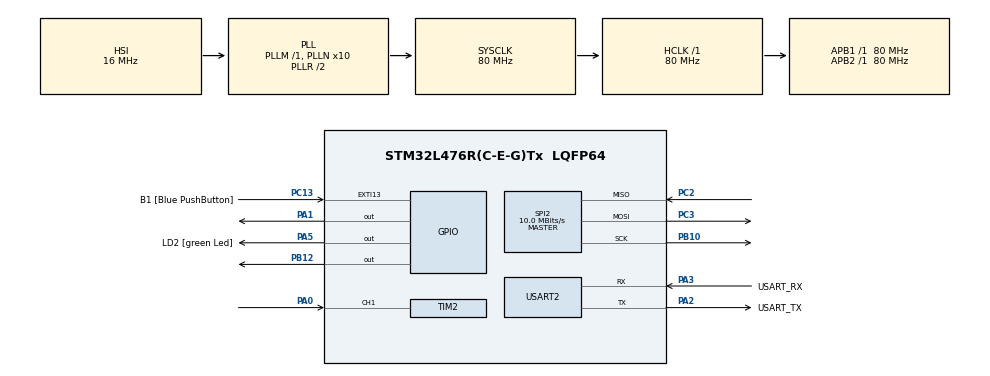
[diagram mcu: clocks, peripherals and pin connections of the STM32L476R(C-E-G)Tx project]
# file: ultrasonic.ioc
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FREERTOS.Tasks01=defaultTask,0,128,StartDefaultTask,Default,NULL,Dynamic,NULL,NULL
Mcu.Family=STM32L4
Mcu.Name=STM32L476R(C-E-G)Tx
Mcu.Package=LQFP64
NVIC.PriorityGroup=NVIC_PRIORITYGROUP_4
NVIC.TIM2_IRQn=true\:5\:0\:false\:false\:true\:true\:true\:true\:true
PA0.Signal=S_TIM2_CH1
PA1.Signal=GPIO_Output
PA13\ (JTMS-SWDIO).GPIO_Label=TMS
PA13\ (JTMS-SWDIO).Mode=Serial_Wire
PA13\ (JTMS-SWDIO).Signal=SYS_JTMS-SWDIO
PA14\ (JTCK-SWCLK).GPIO_Label=TCK
PA14\ (JTCK-SWCLK).Mode=Serial_Wire
PA14\ (JTCK-SWCLK).Signal=SYS_JTCK-SWCLK
PA2.GPIO_Label=USART_TX
PA2.GPIO_Mode=GPIO_MODE_AF_PP
PA2.GPIO_PuPd=GPIO_NOPULL
PA2.GPIO_Speed=GPIO_SPEED_FREQ_VERY_HIGH
PA2.Mode=Asynchronous
PA2.Signal=USART2_TX
PA3.GPIO_Label=USART_RX
PA3.GPIO_Mode=GPIO_MODE_AF_PP
PA3.GPIO_PuPd=GPIO_NOPULL
PA3.GPIO_Speed=GPIO_SPEED_FREQ_VERY_HIGH
PA3.Mode=Asynchronous
PA3.Signal=USART2_RX
PA5.GPIO_Label=LD2 [green Led]
PA5.GPIO_ModeDefaultOutputPP=GPIO_MODE_OUTPUT_PP
PA5.GPIO_PuPd=GPIO_NOPULL
PA5.GPIO_Speed=GPIO_SPEED_FREQ_LOW
PA5.Signal=GPIO_Output
PB10.Mode=Full_Duplex_Master
PB10.Signal=SPI2_SCK
PB12.Signal=GPIO_Output
PB3\ (JTDO-TRACESWO).GPIO_Label=SWO
PB3\ (JTDO-TRACESWO).Signal=SYS_JTDO-SWO
PC13.GPIO_Label=B1 [Blue PushButton]
PC13.GPIO_ModeDefaultEXTI=GPIO_MODE_IT_FALLING
PC13.GPIO_PuPd=GPIO_NOPULL
PC13.Signal=GPXTI13
PC14-OSC32_IN\ (PC14).Mode=LSE-External-Oscillator
PC14-OSC32_IN\ (PC14).Signal=RCC_OSC32_IN
PC15-OSC32_OUT\ (PC15).Mode=LSE-External-Oscillator
PC15-OSC32_OUT\ (PC15).Signal=RCC_OSC32_OUT
PC2.Mode=Full_Duplex_Master
PC2.Signal=SPI2_MISO
PC3.Mode=Full_Duplex_Master
PC3.Signal=SPI2_MOSI
PH0-OSC_IN\ (PH0).Signal=RCC_OSC_IN
PH1-OSC_OUT\ (PH1).Signal=RCC_OSC_OUT
ProjectManager.HeapSize=0x200
ProjectManager.StackSize=0x400
ProjectManager.TargetToolchain=STM32CubeIDE
RCC.ADCFreq_Value=64000000
RCC.AHBFreq_Value=80000000
RCC.APB1Freq_Value=80000000
RCC.APB1TimFreq_Value=80000000
RCC.APB2Freq_Value=80000000
RCC.APB2TimFreq_Value=80000000
RCC.CortexFreq_Value=80000000
RCC.HCLKFreq_Value=80000000
RCC.HSE_VALUE=8000000
RCC.HSI_VALUE=16000000
RCC.MSI_VALUE=4000000
RCC.PLLN=10
RCC.PLLSourceVirtual=RCC_PLLSOURCE_HSI
RCC.PREFETCH_ENABLE=1
RCC.SYSCLKFreq_VALUE=80000000
RCC.SYSCLKSource=RCC_SYSCLKSOURCE_PLLCLK
RCC.USBFreq_Value=64000000
RCC.VCOOutputFreq_Value=160000000
SH.S_TIM2_CH1.0=TIM2_CH1,Input_Capture1_from_TI1
SPI2.BaudRatePrescaler=SPI_BAUDRATEPRESCALER_8
SPI2.CalculateBaudRate=10.0 MBits/s
SPI2.DataSize=SPI_DATASIZE_8BIT
SPI2.Direction=SPI_DIRECTION_2LINES
SPI2.Mode=SPI_MODE_MASTER
SPI2.VirtualType=VM_MASTER
TIM2.Channel-Input_Capture1_from_TI1=TIM_CHANNEL_1
USART2.VirtualMode-Asynchronous=VM_ASYNC
VP_FREERTOS_VS_CMSIS_V1.Mode=CMSIS_V1
VP_RTC_VS_RTC_Activate.Mode=RTC_Enabled
VP_RTC_VS_RTC_Calendar.Mode=RTC_Calendar
board=NUCLEO-L476RG

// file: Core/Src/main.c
/* USER CODE BEGIN Header */
/**
  ******************************************************************************
  * @file           : main.c
  * @brief          : Main program body
  ******************************************************************************
  * @attention
  *
  * Copyright (c) 2025 STMicroelectronics.
  * All rights reserved.
  *
  * This software is licensed under terms that can be found in the LICENSE file
  * in the root directory of this software component.
  * If no LICENSE file comes with this software, it is provided AS-IS.
  *
  ******************************************************************************
  */
/* USER CODE END Header */
#include "main.h"
#include "cmsis_os.h"

/* USER CODE BEGIN Includes */
#include<string.h>
#include<stdio.h>
/* USER CODE END Includes */

/* USER CODE BEGIN PM */
//macro for chip select pin
#define W25Q_CS_LOW()   HAL_GPIO_WritePin(GPIOB, GPIO_PIN_12, GPIO_PIN_RESET)
#define W25Q_CS_HIGH()  HAL_GPIO_WritePin(GPIOB, GPIO_PIN_12, GPIO_PIN_SET)

/* USER CODE END PM */

RTC_HandleTypeDef hrtc;

SPI_HandleTypeDef hspi2;

TIM_HandleTypeDef htim2;

UART_HandleTypeDef huart2;

osThreadId defaultTaskHandle;
/* USER CODE BEGIN PV */
//handle for task
TaskHandle_t sensorHandle;
TaskHandle_t flashHandle;
TaskHandle_t alertHandle;
TaskHandle_t uartHandle;
//handle for queue
QueueHandle_t distance_q;

uint32_t ic_val1 = 0;   // First captured timer value
uint32_t ic_val2 = 0;   // Second captured timer value
uint32_t diff = 0;      // Difference between captures (pulse width)
uint8_t is_first_capture = 0; // Flag to track first/second capture
float distance_cm = 0;     // Calculated distance in centimeters

char msg[64];                   // Message buffer for UART
RTC_TimeTypeDef sTime;          // RTC time structure
RTC_DateTypeDef sDate;          // RTC date structure
char timestamp[32];             // Timestamp string buffer
/* USER CODE END PV */

void SystemClock_Config(void);
static void MX_GPIO_Init(void);
static void MX_USART2_UART_Init(void);
static void MX_SPI2_Init(void);
static void MX_TIM2_Init(void);
static void MX_RTC_Init(void);
void StartDefaultTask(void const * argument);

/* USER CODE BEGIN PFP */
// ================== Read Status Register-1 ==================
static uint8_t W25Qxx_ReadSR1(void)
{
    uint8_t cmd = 0x05; // Command: Read Status Register-1
    uint8_t sr1 = 0;

    W25Q_CS_LOW();                                   // select flash chip
    HAL_SPI_Transmit(&hspi2, &cmd, 1, 100);          // send command
    HAL_SPI_Receive(&hspi2, &sr1, 1, 100);           // read one byte (status register value)
    W25Q_CS_HIGH();                                  // release flash chip

    return sr1;                                      // return status value
}

// ================== Wait until flash is not busy ==================
static void W25Qxx_WaitBusy(void)
{
    // WIP bit (bit0) = 1 while flash is busy (erase/program in progress)
    while (W25Qxx_ReadSR1() & 0x01)
    {
        osDelay(1); // small delay so other tasks can run
    }
}

// ================== Erase one sector (4KB) ==================
void W25Qxx_EraseSector(uint32_t addr)
{
    uint8_t cmd[4];
    uint8_t we = 0x06;   // Write Enable command

    // --- Send Write Enable ---
    W25Q_CS_LOW();
    HAL_SPI_Transmit(&hspi2, &we, 1, HAL_MAX_DELAY);
    W25Q_CS_HIGH();

    // --- Sector Erase command + 24-bit address ---
    cmd[0] = 0x20;                         // Sector Erase (4KB)
    cmd[1] = (addr >> 16) & 0xFF;          // address byte 2
    cmd[2] = (addr >> 8) & 0xFF;           // address byte 1
    cmd[3] = addr & 0xFF;                  // address byte 0

    W25Q_CS_LOW();
    HAL_SPI_Transmit(&hspi2, cmd, 4, HAL_MAX_DELAY);
    W25Q_CS_HIGH();

    W25Qxx_WaitBusy();                     // wait until erase finished
    HAL_Delay(50);                         // extra wait (~50ms typical erase time)
}

// ================== Read flash JEDEC ID ==================
void W25Qxx_Init(void)
{
    uint8_t cmd = 0x9F; // Read JEDEC ID command
    uint8_t id[3];      // buffer for manufacturer/device ID
    char buf[50];

    W25Q_CS_LOW();
    HAL_SPI_Transmit(&hspi2, &cmd, 1, HAL_MAX_DELAY);  // send command
    HAL_SPI_Receive(&hspi2, id, 3, HAL_MAX_DELAY);     // read 3 ID bytes
    W25Q_CS_HIGH();

    // Print ID over UART (e.g. EF 40 17 for W25Q64)
    sprintf(buf, "W25Q ID: %02X %02X %02X\r\n", id[0], id[1], id[2]);
    HAL_UART_Transmit(&huart2, (uint8_t*) buf, strlen(buf), 1000);
}

// ================== Read data from flash ==================
void W25Qxx_Read(uint32_t addr, uint8_t *buffer, uint16_t size)
{
    uint8_t cmd[4];

    // --- Read Data command + 24-bit address ---
    cmd[0] = 0x03;                         // Read command
    cmd[1] = (addr >> 16) & 0xFF;          // address byte 2
    cmd[2] = (addr >> 8) & 0xFF;           // address byte 1
    cmd[3] = addr & 0xFF;                  // address byte 0

    W25Q_CS_LOW();
    HAL_SPI_Transmit(&hspi2, cmd, 4, HAL_MAX_DELAY);   // send command + address
    HAL_SPI_Receive(&hspi2, buffer, size, HAL_MAX_DELAY); // read 'size' bytes into buffer
    W25Q_CS_HIGH();
}

// ================== Write data to flash ==================
void W25Qxx_Write(uint32_t addr, uint8_t *buffer, uint16_t size)
{
    uint8_t cmd[4];
    uint8_t we = 0x06;   // Write Enable command

    // --- Send Write Enable ---
    W25Q_CS_LOW();
    HAL_SPI_Transmit(&hspi2, &we, 1, HAL_MAX_DELAY);
    W25Q_CS_HIGH();

    // --- Page Program command + 24-bit address ---
    cmd[0] = 0x02;                         // Page Program
    cmd[1] = (addr >> 16) & 0xFF;          // address byte 2
    cmd[2] = (addr >> 8) & 0xFF;           // address byte 1
    cmd[3] = addr & 0xFF;                  // address byte 0

    W25Q_CS_LOW();
    HAL_SPI_Transmit(&hspi2, cmd, 4, HAL_MAX_DELAY);   // send command + address
    HAL_SPI_Transmit(&hspi2, buffer, size, HAL_MAX_DELAY); // send data to program
    W25Q_CS_HIGH();                                       // release chip

    W25Qxx_WaitBusy();                     // wait until program finished
}

// ================== Write one float value ==================
void W25Qxx_WriteFloat(uint32_t addr, float value)
{
    uint8_t buffer[4];
    memcpy(buffer, &value, sizeof(float));  // copy float into 4-byte buffer
    W25Qxx_Write(addr, buffer, sizeof(float)); // write 4 bytes to flash
}

// ================== Read one float value ==================
float W25Qxx_ReadFloat(uint32_t addr)
{
    uint8_t buffer[4];
    float value;
    W25Qxx_Read(addr, buffer, sizeof(float)); // read 4 bytes from flash
    memcpy(&value, buffer, sizeof(float));    // copy into float variable
    return value;
}

/* USER CODE END PFP */

/* USER CODE BEGIN 0 */
// Function to send a 10µs pulse to TRIG pin
void HCSR04_Trigger(void)
{
  HAL_GPIO_WritePin(GPIOA, GPIO_PIN_1, GPIO_PIN_SET);  //SET TRIG high
 // HAL_Delay(0);  // Wait few cycles
  for (volatile int i = 0; i < 160; i++);  // ~10 µs at 16 MHz
  HAL_GPIO_WritePin(GPIOA, GPIO_PIN_1, GPIO_PIN_RESET);  //SET TRIG low
}

// Start ultrasonic measurement
void Start_HCSR04(void)
{
  is_first_capture = 0;                                   // Reset capture flag
  HAL_TIM_IC_Start_IT(&htim2, TIM_CHANNEL_1);             // Start Input Capture interrupt
  HCSR04_Trigger();                                       // Trigger sensor
}

// Input Capture interrupt callback
void HAL_TIM_IC_CaptureCallback(TIM_HandleTypeDef *htim)
{
  if (htim->Channel == HAL_TIM_ACTIVE_CHANNEL_1)          // Check channel
  {
    if (is_first_capture == 0) // First edge (rising)
    {
      ic_val1 = HAL_TIM_ReadCapturedValue(htim, TIM_CHANNEL_1);  // Read first value
      __HAL_TIM_SET_CAPTUREPOLARITY(htim, TIM_CHANNEL_1, TIM_INPUTCHANNELPOLARITY_FALLING); // Switch to falling edge
      is_first_capture = 1;  // Mark first capture done
    }
    else if (is_first_capture == 1) // Second edge (falling)
    {
      ic_val2 = HAL_TIM_ReadCapturedValue(htim, TIM_CHANNEL_1);  // Read second value
      __HAL_TIM_SET_CAPTUREPOLARITY(htim, TIM_CHANNEL_1, TIM_INPUTCHANNELPOLARITY_RISING); // Switch back to rising
      HAL_TIM_IC_Stop_IT(htim, TIM_CHANNEL_1);                   // Stop capture

      // Calculate pulse width
      if (ic_val2 > ic_val1)
        diff = ic_val2 - ic_val1;
      else
        diff = (0xFFFF - ic_val1 + ic_val2);

      // Convert to distance (speed of sound 0.0343 cm/µs, divide by 2 for round trip)
      distance_cm = (float)diff * 0.0343 / 2.0;
    }
  }
}

// ================== Sensor Task ==================
void sensorTask(void *argument)
{
    while(1)
    {
        Start_HCSR04();                          // trigger ultrasonic measurement
   //   HAL_Delay(100);                          // (not used, we rely on vTaskDelay)
        xQueueSend(distance_q, &distance_cm, 0); // send the latest distance value to the queue
        vTaskDelay(pdMS_TO_TICKS(100));          // wait 100 ms before next measurement
    }
}

// ================== Flash Task ==================
void flashTask(void *argument)
{
    float dist, dist1;
    char c[15];
    static uint32_t flashAddr = 0x0001;          // flash write pointer

    while(1)
    {
        // Wait until a distance value is available in the queue
        if(xQueueReceive(distance_q, &dist, portMAX_DELAY))
        {
            W25Qxx_WriteFloat(flashAddr, dist);  // write distance value to flash at current address
            flashAddr += 4;                      // move write pointer

            if(flashAddr >= 0x100000)            // if we reach end of memory (1 MB), wrap back to start
            {
            	W25Qxx_EraseSector(0x0000);     //erase sector
            	flashAddr = 0;
            }

            dist1 = W25Qxx_ReadFloat(flashAddr); // read back value from flash (for verification/debug)

            sprintf(c, "%.2f\r\n", dist1);       // format the read value as string
            HAL_UART_Transmit(&huart2, (uint8_t*)c, strlen(c), 1000); // send value over UART
        }
    }
}

// ================== Alert Task ==================
void alertTask(void *argument)
{
    float dist;

    while(1)
    {
        // Wait until a distance value is available in the queue
        if(xQueueReceive(distance_q, &dist, portMAX_DELAY))
        {
            if(dist < 30)  // threshold: if object is closer than 30 cm
                HAL_GPIO_WritePin(GPIOA, GPIO_PIN_5, GPIO_PIN_SET);   // turn LED ON (alert)
            else
                HAL_GPIO_WritePin(GPIOA, GPIO_PIN_5, GPIO_PIN_RESET); // turn LED OFF
        }
    }
}

// UART Task
void uartTask(void *argument)
{
    char msg[64];
    while(1)
    {
    	// Read current RTC time and date
		HAL_RTC_GetTime(&hrtc, &sTime, RTC_FORMAT_BIN);
		HAL_RTC_GetDate(&hrtc, &sDate, RTC_FORMAT_BIN);
    	// Format time/date into string
    	sprintf(msg, "Distance: %.2fcm Time: %02d:%02d:%02d | Date: %02d-%02d-20%02d\r\n",distance_cm,sTime.Hours, sTime.Minutes, sTime.Seconds,
    	              sDate.Date, sDate.Month, sDate.Year);
    	//periodic update via UART
        HAL_UART_Transmit(&huart2, (uint8_t*)msg, strlen(msg), 100);
        vTaskDelay(pdMS_TO_TICKS(1000));  //delay
    }
}

/* USER CODE END 0 */

int main(void)
{

  /* MCU Configuration--------------------------------------------------------*/

  /* Reset of all peripherals, Initializes the Flash interface and the Systick. */
  HAL_Init();

  /* Configure the system clock */
  SystemClock_Config();

  /* Initialize all configured peripherals */
  MX_GPIO_Init();
  MX_USART2_UART_Init();
  MX_SPI2_Init();
  MX_TIM2_Init();
  MX_RTC_Init();
  HAL_GPIO_WritePin(GPIOB, GPIO_PIN_12, GPIO_PIN_SET); // CS idle HIGH

  /* USER CODE BEGIN 2 */
  uint8_t buffer[6] = {0};                  // buffer to store data read back from flash

  W25Qxx_EraseSector(0x0000);               // erase sector at address 0x0000
  W25Qxx_Init();                            // read and print JEDEC ID of flash chip
  W25Qxx_Write(0x000, (uint8_t *)"Hello", 5); // write 5 bytes ("Hello")
  W25Qxx_Read(0x000, buffer, 5);            // read 5 bytes back from address 0x0000 into buffer
  HAL_UART_Transmit(&huart2, buffer, 5, 1000); // send the read data over UART (should print "Hello")

  if ((RTC->ISR & RTC_ISR_INITS) == 0)
     {
       //RTC not yet initialized. Setting time and date...

       sTime.Hours = 9;
       sTime.Minutes = 30;
       sTime.Seconds = 00;
       sTime.DayLightSaving = RTC_DAYLIGHTSAVING_NONE;
       sTime.StoreOperation = RTC_STOREOPERATION_RESET;
       HAL_RTC_SetTime(&hrtc, &sTime, RTC_FORMAT_BIN);

       sDate.WeekDay = RTC_WEEKDAY_WEDNESDAY;
       sDate.Month = RTC_MONTH_AUGUST;
       sDate.Date = 22;
       sDate.Year = 25;
       HAL_RTC_SetDate(&hrtc, &sDate, RTC_FORMAT_BIN);
     }
  /* USER CODE END 2 */

  /* Create the thread(s) */
  /* definition and creation of defaultTask */
  osThreadDef(defaultTask, StartDefaultTask, osPriorityNormal, 0, 128);
  defaultTaskHandle = osThreadCreate(osThread(defaultTask), NULL);

  /* USER CODE BEGIN RTOS_THREADS */
  // Create a queue
  distance_q = xQueueCreate(5, sizeof(float));

  // Create SENSOR task , check if creation failed
  if (xTaskCreate(sensorTask, "SENSOR_TASK", configMINIMAL_STACK_SIZE, NULL, 1, &sensorHandle) != pdTRUE)
  {
      HAL_UART_Transmit(&huart2, (uint8_t*)"fail1\r\n", 7, 1000);  // send error message if task creation failed
  }
  // Create FLASH task , check if creation failed
  if (xTaskCreate(flashTask, "FLASH_TASK", configMINIMAL_STACK_SIZE, NULL, 2, &flashHandle) != pdTRUE)
  {
      HAL_UART_Transmit(&huart2, (uint8_t*)"fail2\r\n", 7, 1000);
  }
  // Create ALERT task , check if creation failed
  if (xTaskCreate(alertTask, "ALERT_TASK", configMINIMAL_STACK_SIZE, NULL, 2, &alertHandle) != pdTRUE)
  {
      HAL_UART_Transmit(&huart2, (uint8_t*)"fail3\r\n", 7, 1000);
  }
  // Create UART task , check if creation failed
  if (xTaskCreate(uartTask, "UART_TASK", configMINIMAL_STACK_SIZE, NULL, 2, &uartHandle) != pdTRUE)
  {
      HAL_UART_Transmit(&huart2, (uint8_t*)"fail4\r\n", 7, 1000);
  }

  /* USER CODE END RTOS_THREADS */

  /* Start scheduler */
  osKernelStart();

  /* We should never get here as control is now taken by the scheduler */

  /* Infinite loop */
  while (1)
  {

  }
}

void SystemClock_Config(void)
{
  RCC_OscInitTypeDef RCC_OscInitStruct = {0};
  RCC_ClkInitTypeDef RCC_ClkInitStruct = {0};

  /** Configure the main internal regulator output voltage
  */
  if (HAL_PWREx_ControlVoltageScaling(PWR_REGULATOR_VOLTAGE_SCALE1) != HAL_OK)
  {
    Error_Handler();
  }

  /** Initializes the RCC Oscillators according to the specified parameters
  * in the RCC_OscInitTypeDef structure.
  */
  RCC_OscInitStruct.OscillatorType = RCC_OSCILLATORTYPE_HSI|RCC_OSCILLATORTYPE_LSI;
  RCC_OscInitStruct.HSIState = RCC_HSI_ON;
  RCC_OscInitStruct.HSICalibrationValue = RCC_HSICALIBRATION_DEFAULT;
  RCC_OscInitStruct.LSIState = RCC_LSI_ON;
  RCC_OscInitStruct.PLL.PLLState = RCC_PLL_ON;
  RCC_OscInitStruct.PLL.PLLSource = RCC_PLLSOURCE_HSI;
  RCC_OscInitStruct.PLL.PLLM = 1;
  RCC_OscInitStruct.PLL.PLLN = 10;
  RCC_OscInitStruct.PLL.PLLP = RCC_PLLP_DIV7;
  RCC_OscInitStruct.PLL.PLLQ = RCC_PLLQ_DIV2;
  RCC_OscInitStruct.PLL.PLLR = RCC_PLLR_DIV2;
  if (HAL_RCC_OscConfig(&RCC_OscInitStruct) != HAL_OK)
  {
    Error_Handler();
  }

  /** Initializes the CPU, AHB and APB buses clocks
  */
  RCC_ClkInitStruct.ClockType = RCC_CLOCKTYPE_HCLK|RCC_CLOCKTYPE_SYSCLK
                              |RCC_CLOCKTYPE_PCLK1|RCC_CLOCKTYPE_PCLK2;
  RCC_ClkInitStruct.SYSCLKSource = RCC_SYSCLKSOURCE_PLLCLK;
  RCC_ClkInitStruct.AHBCLKDivider = RCC_SYSCLK_DIV1;
  RCC_ClkInitStruct.APB1CLKDivider = RCC_HCLK_DIV1;
  RCC_ClkInitStruct.APB2CLKDivider = RCC_HCLK_DIV1;

  if (HAL_RCC_ClockConfig(&RCC_ClkInitStruct, FLASH_LATENCY_4) != HAL_OK)
  {
    Error_Handler();
  }
}

static void MX_RTC_Init(void)
{

  RTC_TimeTypeDef sTime = {0};
  RTC_DateTypeDef sDate = {0};

  /** Initialize RTC Only
  */
  hrtc.Instance = RTC;
  hrtc.Init.HourFormat = RTC_HOURFORMAT_24;
  hrtc.Init.AsynchPrediv = 127;
  hrtc.Init.SynchPrediv = 255;
  hrtc.Init.OutPut = RTC_OUTPUT_DISABLE;
  hrtc.Init.OutPutRemap = RTC_OUTPUT_REMAP_NONE;
  hrtc.Init.OutPutPolarity = RTC_OUTPUT_POLARITY_HIGH;
  hrtc.Init.OutPutType = RTC_OUTPUT_TYPE_OPENDRAIN;
  if (HAL_RTC_Init(&hrtc) != HAL_OK)
  {
    Error_Handler();
  }

  /** Initialize RTC and set the Time and Date
  */
  sTime.Hours = 0x0;
  sTime.Minutes = 0x0;
  sTime.Seconds = 0x0;
  sTime.DayLightSaving = RTC_DAYLIGHTSAVING_NONE;
  sTime.StoreOperation = RTC_STOREOPERATION_RESET;
  if (HAL_RTC_SetTime(&hrtc, &sTime, RTC_FORMAT_BCD) != HAL_OK)
  {
    Error_Handler();
  }
  sDate.WeekDay = RTC_WEEKDAY_MONDAY;
  sDate.Month = RTC_MONTH_JANUARY;
  sDate.Date = 0x1;
  sDate.Year = 0x0;

  if (HAL_RTC_SetDate(&hrtc, &sDate, RTC_FORMAT_BCD) != HAL_OK)
  {
    Error_Handler();
  }

}

static void MX_SPI2_Init(void)
{

  /* SPI2 parameter configuration*/
  hspi2.Instance = SPI2;
  hspi2.Init.Mode = SPI_MODE_MASTER;
  hspi2.Init.Direction = SPI_DIRECTION_2LINES;
  hspi2.Init.DataSize = SPI_DATASIZE_8BIT;
  hspi2.Init.CLKPolarity = SPI_POLARITY_LOW;
  hspi2.Init.CLKPhase = SPI_PHASE_1EDGE;
  hspi2.Init.NSS = SPI_NSS_SOFT;
  hspi2.Init.BaudRatePrescaler = SPI_BAUDRATEPRESCALER_32;
  hspi2.Init.FirstBit = SPI_FIRSTBIT_MSB;
  hspi2.Init.TIMode = SPI_TIMODE_DISABLE;
  hspi2.Init.CRCCalculation = SPI_CRCCALCULATION_DISABLE;
  hspi2.Init.CRCPolynomial = 7;
  hspi2.Init.CRCLength = SPI_CRC_LENGTH_DATASIZE;
  hspi2.Init.NSSPMode = SPI_NSS_PULSE_ENABLE;
  if (HAL_SPI_Init(&hspi2) != HAL_OK)
  {
    Error_Handler();
  }

}

static void MX_TIM2_Init(void)
{

  TIM_MasterConfigTypeDef sMasterConfig = {0};
  TIM_IC_InitTypeDef sConfigIC = {0};

  htim2.Instance = TIM2;
  htim2.Init.Prescaler = 0;
  htim2.Init.CounterMode = TIM_COUNTERMODE_UP;
  htim2.Init.Period = 4294967295;
  htim2.Init.ClockDivision = TIM_CLOCKDIVISION_DIV1;
  htim2.Init.AutoReloadPreload = TIM_AUTORELOAD_PRELOAD_DISABLE;
  if (HAL_TIM_IC_Init(&htim2) != HAL_OK)
  {
    Error_Handler();
  }
  sMasterConfig.MasterOutputTrigger = TIM_TRGO_RESET;
  sMasterConfig.MasterSlaveMode = TIM_MASTERSLAVEMODE_DISABLE;
  if (HAL_TIMEx_MasterConfigSynchronization(&htim2, &sMasterConfig) != HAL_OK)
  {
    Error_Handler();
  }
  sConfigIC.ICPolarity = TIM_INPUTCHANNELPOLARITY_RISING;
  sConfigIC.ICSelection = TIM_ICSELECTION_DIRECTTI;
  sConfigIC.ICPrescaler = TIM_ICPSC_DIV1;
  sConfigIC.ICFilter = 0;
  if (HAL_TIM_IC_ConfigChannel(&htim2, &sConfigIC, TIM_CHANNEL_1) != HAL_OK)
  {
    Error_Handler();
  }

}

static void MX_USART2_UART_Init(void)
{

  huart2.Instance = USART2;
  huart2.Init.BaudRate = 115200;
  huart2.Init.WordLength = UART_WORDLENGTH_8B;
  huart2.Init.StopBits = UART_STOPBITS_1;
  huart2.Init.Parity = UART_PARITY_NONE;
  huart2.Init.Mode = UART_MODE_TX_RX;
  huart2.Init.HwFlowCtl = UART_HWCONTROL_NONE;
  huart2.Init.OverSampling = UART_OVERSAMPLING_16;
  huart2.Init.OneBitSampling = UART_ONE_BIT_SAMPLE_DISABLE;
  huart2.AdvancedInit.AdvFeatureInit = UART_ADVFEATURE_NO_INIT;
  if (HAL_UART_Init(&huart2) != HAL_OK)
  {
    Error_Handler();
  }

}

static void MX_GPIO_Init(void)
{
  GPIO_InitTypeDef GPIO_InitStruct = {0};

  /* GPIO Ports Clock Enable */
  __HAL_RCC_GPIOC_CLK_ENABLE();
  __HAL_RCC_GPIOH_CLK_ENABLE();
  __HAL_RCC_GPIOA_CLK_ENABLE();
  __HAL_RCC_GPIOB_CLK_ENABLE();

  /*Configure GPIO pin Output Level */
  HAL_GPIO_WritePin(GPIOA, GPIO_PIN_1|LD2_Pin, GPIO_PIN_RESET);

  /*Configure GPIO pin Output Level */
  HAL_GPIO_WritePin(GPIOB, GPIO_PIN_12, GPIO_PIN_RESET);

  /*Configure GPIO pin : B1_Pin */
  GPIO_InitStruct.Pin = B1_Pin;
  GPIO_InitStruct.Mode = GPIO_MODE_IT_FALLING;
  GPIO_InitStruct.Pull = GPIO_NOPULL;
  HAL_GPIO_Init(B1_GPIO_Port, &GPIO_InitStruct);

  /*Configure GPIO pins : PA1 LD2_Pin */
  GPIO_InitStruct.Pin = GPIO_PIN_1|LD2_Pin;
  GPIO_InitStruct.Mode = GPIO_MODE_OUTPUT_PP;
  GPIO_InitStruct.Pull = GPIO_NOPULL;
  GPIO_InitStruct.Speed = GPIO_SPEED_FREQ_LOW;
  HAL_GPIO_Init(GPIOA, &GPIO_InitStruct);

  /*Configure GPIO pin : PB12 */
  GPIO_InitStruct.Pin = GPIO_PIN_12;
  GPIO_InitStruct.Mode = GPIO_MODE_OUTPUT_PP;
  GPIO_InitStruct.Pull = GPIO_NOPULL;
  GPIO_InitStruct.Speed = GPIO_SPEED_FREQ_LOW;
  HAL_GPIO_Init(GPIOB, &GPIO_InitStruct);

}

void StartDefaultTask(void const * argument)
{
  for(;;)
  {
    osDelay(1);
  }
}

void Error_Handler(void)
{
  __disable_irq();
  while (1)
  {
  }
}
